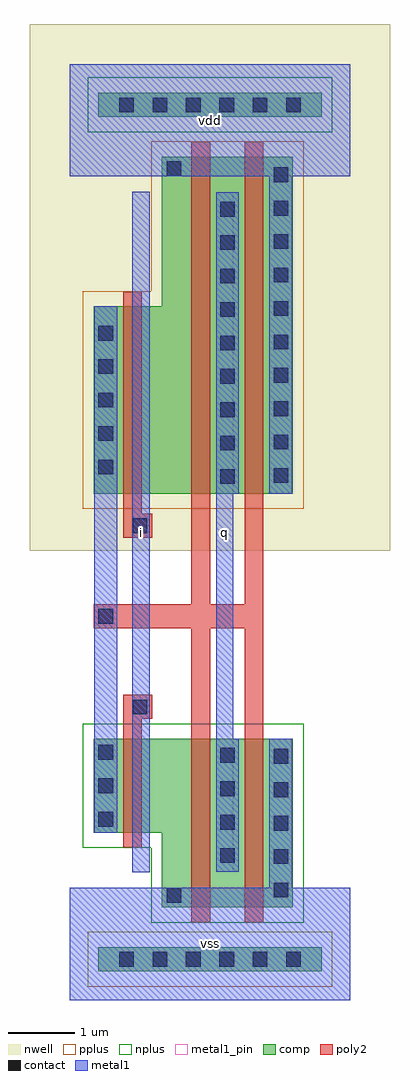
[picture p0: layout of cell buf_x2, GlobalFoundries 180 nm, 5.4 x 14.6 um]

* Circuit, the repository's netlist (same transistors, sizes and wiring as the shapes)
* buf_x2
.subckt buf_x2 vdd vss i q
Mn1 ni i vss vss nfet_03v3 l=0.28um w=1.4um
Mn2_0 vss ni q vss nfet_03v3 l=0.28um w=2.52um
Mn2_1 q ni vss vss nfet_03v3 l=0.28um w=2.52um
Mp1 ni i vdd vdd pfet_03v3 l=0.28um w=2.8um
Mp2_0 vdd ni q vdd pfet_03v3 l=0.28um w=5.04um
Mp2_1 q ni vdd vdd pfet_03v3 l=0.28um w=5.04um
.ends buf_x2

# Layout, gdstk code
import gdstk
lib = gdstk.Library(unit=1e-6, precision=1e-09)
def R(c, l, rs):  # rectangles x0, y0, x1, y1
    for r in rs: c.add(gdstk.rectangle(r[:2], r[2:], *l))
def A(c, l, x, y, w, h, nx, ny, dx, dy):  # array of equal rectangles
    R(c, l, [(x+i*dx, y+j*dy, x+i*dx+w, y+j*dy+h) for i in range(nx) for j in range(ny)])
def P(c, l, *ps):  # polygons
    for p in ps: c.add(gdstk.Polygon(p, *l))
nwell = (21, 0)
comp = (22, 0)
poly2 = (30, 0)
pplus = (31, 0)
nplus = (32, 0)
contact = (33, 0)
metal1 = (34, 0)
metal1_pin = (34, 10)

buf_x2 = lib.new_cell('buf_x2')
R(buf_x2, nwell, [(-0.6,6.72,4.8,14.6)])
R(buf_x2, comp, [(0.43,0.43,3.77,0.79), (0.43,13.21,3.77,13.57)])
P(buf_x2, comp, [(0.36,7.575),(0.36,10.375),(1.38,10.375),(1.38,12.615),(3.34,12.615),(3.34,7.575)],
  [(1.38,1.385),(1.38,2.505),(0.36,2.505),(0.36,3.905),(3.34,3.905),(3.34,1.385)])
P(buf_x2, poly2, [(1.82,1.165),(1.82,5.56),(0.36,5.56),(0.36,5.92),(1.82,5.92),(1.82,12.835),(2.1,12.835),(2.1,5.92),(2.62,5.92),(2.62,12.835),(2.9,12.835),(2.9,1.165),(2.62,1.165),(2.62,5.56),(2.1,5.56),(2.1,1.165)],
  [(0.8,2.285),(0.8,4.565),(1.235,4.565),(1.235,4.205),(1.08,4.205),(1.08,2.285)],
  [(0.8,6.915),(0.8,10.595),(1.08,10.595),(1.08,7.275),(1.235,7.275),(1.235,6.915)])
R(buf_x2, pplus, [(0.27,0.2,3.93,1.02)])
P(buf_x2, pplus, [(0.2,7.345),(0.2,10.605),(1.22,10.605),(1.22,12.845),(3.5,12.845),(3.5,7.345)])
R(buf_x2, nplus, [(0.27,12.98,3.93,13.8)])
P(buf_x2, nplus, [(1.22,1.155),(1.22,2.275),(0.2,2.275),(0.2,4.135),(3.5,4.135),(3.5,1.155)])
A(buf_x2, contact, 0.74, 0.5, 0.22, 0.22, 6, 2, 0.5, 12.78)
A(buf_x2, contact, 3.05, 1.535, 0.22, 0.22, 1, 5, 0, 0.5)
A(buf_x2, contact, 2.25, 2.05, 0.22, 0.22, 1, 4, 0, 0.5)
A(buf_x2, contact, 0.43, 2.595, 0.22, 0.22, 1, 3, 0, 0.5)
A(buf_x2, contact, 2.25, 7.72, 0.22, 0.22, 1, 9, 0, 0.5)
A(buf_x2, contact, 3.05, 7.735, 0.22, 0.22, 1, 10, 0, 0.5)
A(buf_x2, contact, 0.43, 7.865, 0.22, 0.22, 1, 5, 0, 0.5)
R(buf_x2, contact, [(1.45,1.455,1.67,1.675), (0.945,4.275,1.165,4.495), (0.43,5.63,0.65,5.85), (0.945,6.985,1.165,7.205), (1.45,12.325,1.67,12.545)])
R(buf_x2, metal1, [(0.94,1.91,1.2,12.09), (0.37,2.505,0.71,10.375)])
P(buf_x2, metal1, [(2.99,7.575),(2.99,12.32),(0,12.32),(0,14),(4.2,14),(4.2,12.32),(3.33,12.32),(3.33,7.575)],
  [(0,0),(0,1.68),(2.99,1.68),(2.99,3.905),(3.33,3.905),(3.33,1.68),(4.2,1.68),(4.2,0)],
  [(2.19,1.915),(2.19,12.085),(2.53,12.085),(2.53,7.575),(2.45,7.575),(2.45,3.905),(2.53,3.905),(2.53,1.915)])
R(buf_x2, metal1_pin, [(0,0,4.2,1.68), (0.94,1.91,1.2,12.09), (2.19,1.915,2.45,12.085), (0,12.32,4.2,14)])
buf_x2.add(gdstk.Label('vdd', (2.1,13.16), layer=34, texttype=10))
buf_x2.add(gdstk.Label('vss', (2.1,0.84), layer=34, texttype=10))
buf_x2.add(gdstk.Label('i', (1.07,7), layer=34, texttype=10))
buf_x2.add(gdstk.Label('q', (2.32,7), layer=34, texttype=10))

lib.write_gds('buf_x2.gds')
